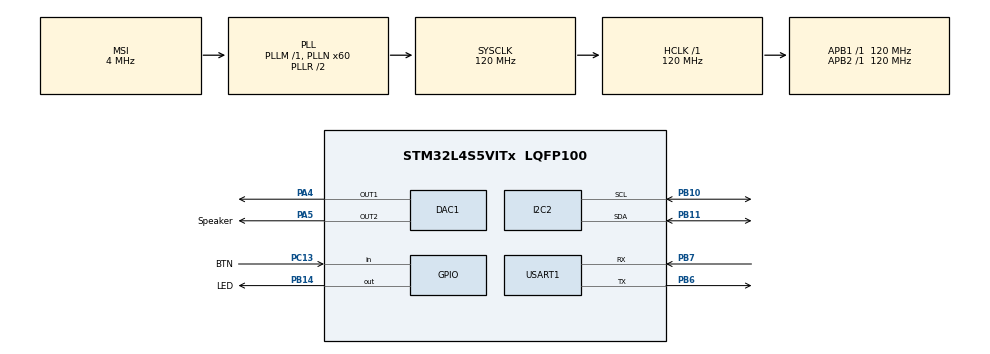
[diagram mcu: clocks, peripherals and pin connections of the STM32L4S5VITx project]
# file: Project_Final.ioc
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DAC1.DAC_Channel-DAC_OUT2=DAC_CHANNEL_2
FREERTOS.Tasks01=ButtonTask,2,128,StartButtonTask,Default,NULL,Dynamic,NULL,NULL;TerminalTask,1,200,StartTerminalTask,Default,NULL,Dynamic,NULL,NULL;SensorTask,1,200,StartSensorTask,Default,NULL,Dynamic,NULL,NULL
I2C2.Timing=0x30A175AB
Mcu.Family=STM32L4
Mcu.Name=STM32L4S5VITx
Mcu.Package=LQFP100
NVIC.PriorityGroup=NVIC_PRIORITYGROUP_4
NVIC.TIM6_DAC_IRQn=true\:5\:0\:false\:false\:true\:false\:false\:true\:true
NVIC.TimeBase=TIM6_DAC_IRQn
NVIC.TimeBaseIP=TIM6
PA4.Signal=COMP_DAC11_group
PA5.GPIO_Label=Speaker
PA5.Signal=COMP_DAC12_group
PB10.Mode=I2C
PB10.Signal=I2C2_SCL
PB11.Mode=I2C
PB11.Signal=I2C2_SDA
PB14.GPIO_Label=LED
PB14.Signal=GPIO_Output
PB6.Mode=Asynchronous
PB6.Signal=USART1_TX
PB7.Mode=Asynchronous
PB7.Signal=USART1_RX
PC13.GPIO_Label=BTN
PC13.Signal=GPIO_Input
ProjectManager.HeapSize=0x200
ProjectManager.StackSize=0x400
ProjectManager.TargetToolchain=STM32CubeIDE
RCC.ADCFreq_Value=48000000
RCC.AHBFreq_Value=120000000
RCC.APB1Freq_Value=120000000
RCC.APB1TimFreq_Value=120000000
RCC.APB2Freq_Value=120000000
RCC.APB2TimFreq_Value=120000000
RCC.CortexFreq_Value=120000000
RCC.HCLKFreq_Value=120000000
RCC.HSE_VALUE=8000000
RCC.HSI48_VALUE=48000000
RCC.HSI_VALUE=16000000
RCC.LSE_VALUE=32768
RCC.MSI_VALUE=4000000
RCC.PLLN=60
RCC.PLLSAI1N=24
RCC.SYSCLKFreq_VALUE=120000000
RCC.SYSCLKSource=RCC_SYSCLKSOURCE_PLLCLK
RCC.USBFreq_Value=48000000
RCC.VCOOutputFreq_Value=240000000
SH.COMP_DAC11_group.0=DAC1_OUT1,DAC_OUT1
SH.COMP_DAC12_group.0=DAC1_OUT2,DAC_OUT2
USART1.VirtualMode-Asynchronous=VM_ASYNC
VP_FREERTOS_VS_CMSIS_V1.Mode=CMSIS_V1
VP_SYS_VS_tim6.Mode=TIM6
board=B-L4S5I-IOT01A

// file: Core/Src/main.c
/* USER CODE BEGIN Header */
/**
  ******************************************************************************
  * @file           : main.c
  * @brief          : Main program body
  ******************************************************************************
  * @attention
  *
  * Copyright (c) 2024 STMicroelectronics.
  * All rights reserved.
  *
  * This software is licensed under terms that can be found in the LICENSE file
  * in the root directory of this software component.
  * If no LICENSE file comes with this software, it is provided AS-IS.
  *
  ******************************************************************************
  */
/* USER CODE END Header */
#include "main.h"
#include "cmsis_os.h"

/* USER CODE BEGIN Includes */
#include <stdio.h>
#include "arm_math.h"
#include <math.h>
/* USER CODE END Includes */

/* USER CODE BEGIN PTD */
#define ARM_MATH_CM4
/* USER CODE END PTD */

DAC_HandleTypeDef hdac1;

I2C_HandleTypeDef hi2c2;

UART_HandleTypeDef huart1;

osThreadId ButtonTaskHandle;
osThreadId TerminalTaskHandle;
osThreadId SensorTaskHandle;

void SystemClock_Config(void);
static void MX_GPIO_Init(void);
static void MX_I2C2_Init(void);
static void MX_USART1_UART_Init(void);
static void MX_DAC1_Init(void);
void StartButtonTask(void const * argument);
void StartTerminalTask(void const * argument);
void StartSensorTask(void const * argument);

/* USER CODE BEGIN PFP */
void beep(int duration);
void playOutOfBoundsBeep();
void playGameOverSound();
void playLevelCompleteSound();
/* USER CODE END PFP */

/* USER CODE BEGIN 0 */

#define RAD_TO_DEG 57.2957795
#define ROWS 7
#define COLS 76

#ifdef __GNUC__
#define PUTCHAR_PROTOTYPE int __io_putchar(int ch)
#else
#define PUTCHAR_PROTOTYPE int fputc(int ch, FILE *f)
#endif

PUTCHAR_PROTOTYPE
{
  HAL_UART_Transmit(&huart1, (uint8_t *)&ch, 1, HAL_MAX_DELAY);
  return ch;
}

char button_status = 0;
int sensor_number = 0;

int16_t xyz_accel[] = {0,0,0};

// gyroscope
int16_t xyz_gyro[] = {0,0,0};

// pressure
int16_t pressure = 0;

// magnometer
int16_t xyz_mag[] = {0,0,0};

int16_t duration;

int arrow_position = 0;
int difficultyLevel = 0;

int car_position = 3; //row
int car_column = 0;
osMutexId accelDataMutex;
float roll = 0.0f;

static uint32_t seed = 1;
char board[ROWS][COLS];

int obstacleGenerationFrequency = 10;
int terminalTaskCounter = 10;

int gameStatus = 0;
int movingCounter = 10;
int gameOver = 0;

/* USER CODE END 0 */

int main(void)
{

  /* MCU Configuration--------------------------------------------------------*/

  /* Reset of all peripherals, Initializes the Flash interface and the Systick. */
  HAL_Init();

  /* Configure the system clock */
  SystemClock_Config();

  /* Initialize all configured peripherals */
  MX_GPIO_Init();
  MX_I2C2_Init();
  MX_USART1_UART_Init();
  MX_DAC1_Init();
  /* USER CODE BEGIN 2 */
  BSP_ACCELERO_Init();
  BSP_GYRO_Init();
  BSP_PSENSOR_Init();
  BSP_MAGNETO_Init();

//  int16_t *ptr = &xyz;

  /* USER CODE END 2 */

  /* USER CODE BEGIN RTOS_MUTEX */
  /* add mutexes, ... */
  osMutexDef(accelDataMutex);         // Define the mutex
  accelDataMutex = osMutexCreate(osMutex(accelDataMutex)); // Create the mutex
  if (accelDataMutex == NULL) {
      printf("Failed to create accelDataMutex\n\r");
      Error_Handler();
  }
  /* USER CODE END RTOS_MUTEX */

  /* Create the thread(s) */
  /* definition and creation of ButtonTask */
  osThreadDef(ButtonTask, StartButtonTask, osPriorityHigh, 0, 128);
  ButtonTaskHandle = osThreadCreate(osThread(ButtonTask), NULL);

  /* definition and creation of TerminalTask */
  osThreadDef(TerminalTask, StartTerminalTask, osPriorityAboveNormal, 0, 200);
  TerminalTaskHandle = osThreadCreate(osThread(TerminalTask), NULL);

  /* definition and creation of SensorTask */
  osThreadDef(SensorTask, StartSensorTask, osPriorityAboveNormal, 0, 200);
  SensorTaskHandle = osThreadCreate(osThread(SensorTask), NULL);

  /* Start scheduler */
  osKernelStart();

  /* We should never get here as control is now taken by the scheduler */

  /* Infinite loop */
  while (1)
  {

  }
}

void SystemClock_Config(void)
{
  RCC_OscInitTypeDef RCC_OscInitStruct = {0};
  RCC_ClkInitTypeDef RCC_ClkInitStruct = {0};

  /** Configure the main internal regulator output voltage
  */
  if (HAL_PWREx_ControlVoltageScaling(PWR_REGULATOR_VOLTAGE_SCALE1_BOOST) != HAL_OK)
  {
    Error_Handler();
  }

  /** Initializes the RCC Oscillators according to the specified parameters
  * in the RCC_OscInitTypeDef structure.
  */
  RCC_OscInitStruct.OscillatorType = RCC_OSCILLATORTYPE_MSI;
  RCC_OscInitStruct.MSIState = RCC_MSI_ON;
  RCC_OscInitStruct.MSICalibrationValue = 0;
  RCC_OscInitStruct.MSIClockRange = RCC_MSIRANGE_6;
  RCC_OscInitStruct.PLL.PLLState = RCC_PLL_ON;
  RCC_OscInitStruct.PLL.PLLSource = RCC_PLLSOURCE_MSI;
  RCC_OscInitStruct.PLL.PLLM = 1;
  RCC_OscInitStruct.PLL.PLLN = 60;
  RCC_OscInitStruct.PLL.PLLP = RCC_PLLP_DIV2;
  RCC_OscInitStruct.PLL.PLLQ = RCC_PLLQ_DIV2;
  RCC_OscInitStruct.PLL.PLLR = RCC_PLLR_DIV2;
  if (HAL_RCC_OscConfig(&RCC_OscInitStruct) != HAL_OK)
  {
    Error_Handler();
  }

  /** Initializes the CPU, AHB and APB buses clocks
  */
  RCC_ClkInitStruct.ClockType = RCC_CLOCKTYPE_HCLK|RCC_CLOCKTYPE_SYSCLK
                              |RCC_CLOCKTYPE_PCLK1|RCC_CLOCKTYPE_PCLK2;
  RCC_ClkInitStruct.SYSCLKSource = RCC_SYSCLKSOURCE_PLLCLK;
  RCC_ClkInitStruct.AHBCLKDivider = RCC_SYSCLK_DIV1;
  RCC_ClkInitStruct.APB1CLKDivider = RCC_HCLK_DIV1;
  RCC_ClkInitStruct.APB2CLKDivider = RCC_HCLK_DIV1;

  if (HAL_RCC_ClockConfig(&RCC_ClkInitStruct, FLASH_LATENCY_5) != HAL_OK)
  {
    Error_Handler();
  }
}

static void MX_DAC1_Init(void)
{

  DAC_ChannelConfTypeDef sConfig = {0};

  /** DAC Initialization
  */
  hdac1.Instance = DAC1;
  if (HAL_DAC_Init(&hdac1) != HAL_OK)
  {
    Error_Handler();
  }

  /** DAC channel OUT1 config
  */
  sConfig.DAC_SampleAndHold = DAC_SAMPLEANDHOLD_DISABLE;
  sConfig.DAC_Trigger = DAC_TRIGGER_NONE;
  sConfig.DAC_HighFrequency = DAC_HIGH_FREQUENCY_INTERFACE_MODE_ABOVE_80MHZ;
  sConfig.DAC_OutputBuffer = DAC_OUTPUTBUFFER_ENABLE;
  sConfig.DAC_ConnectOnChipPeripheral = DAC_CHIPCONNECT_DISABLE;
  sConfig.DAC_UserTrimming = DAC_TRIMMING_FACTORY;
  if (HAL_DAC_ConfigChannel(&hdac1, &sConfig, DAC_CHANNEL_1) != HAL_OK)
  {
    Error_Handler();
  }

  /** DAC channel OUT2 config
  */
  if (HAL_DAC_ConfigChannel(&hdac1, &sConfig, DAC_CHANNEL_2) != HAL_OK)
  {
    Error_Handler();
  }

}

static void MX_I2C2_Init(void)
{

  hi2c2.Instance = I2C2;
  hi2c2.Init.Timing = 0x30A175AB;
  hi2c2.Init.OwnAddress1 = 0;
  hi2c2.Init.AddressingMode = I2C_ADDRESSINGMODE_7BIT;
  hi2c2.Init.DualAddressMode = I2C_DUALADDRESS_DISABLE;
  hi2c2.Init.OwnAddress2 = 0;
  hi2c2.Init.OwnAddress2Masks = I2C_OA2_NOMASK;
  hi2c2.Init.GeneralCallMode = I2C_GENERALCALL_DISABLE;
  hi2c2.Init.NoStretchMode = I2C_NOSTRETCH_DISABLE;
  if (HAL_I2C_Init(&hi2c2) != HAL_OK)
  {
    Error_Handler();
  }

  /** Configure Analogue filter
  */
  if (HAL_I2CEx_ConfigAnalogFilter(&hi2c2, I2C_ANALOGFILTER_ENABLE) != HAL_OK)
  {
    Error_Handler();
  }

  /** Configure Digital filter
  */
  if (HAL_I2CEx_ConfigDigitalFilter(&hi2c2, 0) != HAL_OK)
  {
    Error_Handler();
  }

}

static void MX_USART1_UART_Init(void)
{

  huart1.Instance = USART1;
  huart1.Init.BaudRate = 115200;
  huart1.Init.WordLength = UART_WORDLENGTH_8B;
  huart1.Init.StopBits = UART_STOPBITS_1;
  huart1.Init.Parity = UART_PARITY_NONE;
  huart1.Init.Mode = UART_MODE_TX_RX;
  huart1.Init.HwFlowCtl = UART_HWCONTROL_NONE;
  huart1.Init.OverSampling = UART_OVERSAMPLING_16;
  huart1.Init.OneBitSampling = UART_ONE_BIT_SAMPLE_DISABLE;
  huart1.Init.ClockPrescaler = UART_PRESCALER_DIV1;
  huart1.AdvancedInit.AdvFeatureInit = UART_ADVFEATURE_NO_INIT;
  if (HAL_UART_Init(&huart1) != HAL_OK)
  {
    Error_Handler();
  }
  if (HAL_UARTEx_SetTxFifoThreshold(&huart1, UART_TXFIFO_THRESHOLD_1_8) != HAL_OK)
  {
    Error_Handler();
  }
  if (HAL_UARTEx_SetRxFifoThreshold(&huart1, UART_RXFIFO_THRESHOLD_1_8) != HAL_OK)
  {
    Error_Handler();
  }
  if (HAL_UARTEx_DisableFifoMode(&huart1) != HAL_OK)
  {
    Error_Handler();
  }

}

static void MX_GPIO_Init(void)
{
  GPIO_InitTypeDef GPIO_InitStruct = {0};

  /* GPIO Ports Clock Enable */
  __HAL_RCC_GPIOC_CLK_ENABLE();
  __HAL_RCC_GPIOA_CLK_ENABLE();
  __HAL_RCC_GPIOB_CLK_ENABLE();

  /*Configure GPIO pin Output Level */
  HAL_GPIO_WritePin(LED_GPIO_Port, LED_Pin, GPIO_PIN_RESET);

  /*Configure GPIO pin : BTN_Pin */
  GPIO_InitStruct.Pin = BTN_Pin;
  GPIO_InitStruct.Mode = GPIO_MODE_INPUT;
  GPIO_InitStruct.Pull = GPIO_NOPULL;
  HAL_GPIO_Init(BTN_GPIO_Port, &GPIO_InitStruct);

  /*Configure GPIO pin : LED_Pin */
  GPIO_InitStruct.Pin = LED_Pin;
  GPIO_InitStruct.Mode = GPIO_MODE_OUTPUT_PP;
  GPIO_InitStruct.Pull = GPIO_NOPULL;
  GPIO_InitStruct.Speed = GPIO_SPEED_FREQ_LOW;
  HAL_GPIO_Init(LED_GPIO_Port, &GPIO_InitStruct);

}

/* USER CODE BEGIN 4 */
void printAcceleration(int16_t *accelData) {
    printf("Acceleration: X: %d, Y: %d, Z: %d\n\r", accelData[0], accelData[1], accelData[2]);
}

void printGyroscope(int16_t *gyroData) {
    printf("Gyroscope: X: %d, Y: %d, Z: %d\n\r", gyroData[0], gyroData[1], gyroData[2]);
}

void printMagnetometer(int16_t *magData) {
    printf("Magnetometer: X: %d, Y: %d, Z: %d\n\r", magData[0], magData[1], magData[2]);
}

void srand(uint32_t new_seed) {
    seed = new_seed;
}

uint32_t rand(void) {
    seed = (1103515245 * seed + 12345) % (1 << 31);
    return seed;
}

uint32_t getRandomNumber0to6(void) {
    uint32_t random_uint32 = rand();
    // Scale to range 0-6
    return random_uint32 % 7;
}

void generateObstacles(int level){
	// Medium Level, 2 obstacles
	if (level == 0) {
		int firstRow = getRandomNumber0to6();
		board[firstRow][COLS -1] = 'O';
	}
		if (level == 1) {
		int firstRow = getRandomNumber0to6();
		int secondRow = getRandomNumber0to6();
		board[firstRow][COLS -1] = 'O';
		board[secondRow][COLS -1] = 'O';
	}
	if (level == 2) {
		int firstRow = getRandomNumber0to6();
		int secondRow = getRandomNumber0to6();
		int thirdRow = getRandomNumber0to6();
		board[firstRow][COLS -1] = 'O';
		board[secondRow][COLS -1] = 'O';
		board[thirdRow][COLS -1] = 'O';

		}
}

void initializeBoard() {
    // Fill the board with empty spaces
    for (int i = 0; i < ROWS; i++) {
        for (int j = 0; j < COLS; j++) {
            board[i][j] = ' '; // Empty space
        }
    }
}

void clearCarPosition() {
    for (int i = 0; i < ROWS; i++) {
        for (int j = 0; j < COLS; j++) {
            if (j <= COLS - 4) { // Only clear potential car positions
                if (strncmp(&board[i][j], "o/=\o", 4) == 0) {
                    strncpy(&board[i][j], "    ", 4); // Clear car
                }
            }
        }
    }
}

// Generates board from game data, return 1 if game over, 0 if nothing, 2 if win
int generateBoard() {
    // Check for level completion
    if (car_column >= COLS - 4) {
        playLevelCompleteSound(); // Play sound on level completion
        return 2;
    }

    // Clear all previous car positions
    clearCarPosition();

    // Update obstacles
    for (int i = 0; i < ROWS; i++) {
        for (int j = 0; j < COLS; j++) {
            if (board[i][j] == 'O') {
                board[i][j] = ' ';
                if (j > 2) {
                    board[i][j - 3] = 'O';
                    // Check for collision with the car
                    if (car_position == i &&
                        (car_column == j - 3 || car_column + 1 == j - 3 || car_column + 2 == j - 3)) {
                        playGameOverSound(); // Play sound on game over
                        return 1;
                    }
                }
            }
        }
    }

    // Place the car in its new position
    strncpy(&board[car_position][car_column], "o/=\o", 4);
    return 0;
}

void displayBoard() {
	printf("\033[2J"); // Clear the terminal screen (ANSI escape code)
	printf("\033[H");  // Move the cursor to the top-left corner (ANSI escape code)
    // Top border
    printf("+------------------------------------------------------------------------------+\n\r");
    for (int i = 0; i < ROWS; i++) {
        printf("|"); // Left border
        for (int j = 0; j < COLS; j++) {
            printf("%c", board[i][j]);
        }
        printf("|\n\r"); // Right border
        if (i < ROWS - 1) {
            // Horizontal row divider
            printf("|------------------------------------------------------------------------------|\n\r");
        }
    }
    // Bottom border
    printf("+------------------------------------------------------------------------------+\n\r");
//    printf("\n\r");
//    printf("\n\r");
//    printf("\n\r");
//    printf("\n\r");
//	printf("\n\r");
//	printf("\n\r");
}

void printGameOver() {
    printf("\n\r");
    printf(" GGGGG  AAAAA  M     M  EEEEE    OOO  V   V EEEEE RRRR  \n\r");
    printf("G       A   A  MM   MM  E       O   O V   V E     R   R \n\r");
    printf("G  GG   AAAAA  M M M M  EEEE    O   O V   V EEEE  RRRR  \n\r");
    printf("G   G   A   A  M  M  M  E       O   O V   V E     R  R  \n\r");
    printf(" GGGG   A   A  M     M  EEEEE    OOO   VVV  EEEEE R   R \n\r");
    printf("\n\r");
    printf("\n\r");
    printf("\n\r");
    printf("\n\r");
    printf("\n\r");
    printf("\n\r");
    printf("\n\r");
    printf("\n\r");
}

void printWinner() {
    printf("\n\r");
    printf(" W   W  III  N   N  N   N  EEEEE  RRRR    \n\r");
    printf(" W   W   I   NN  N  NN  N  E      R   R   \n\r");
    printf(" W W W   I   N N N  N N N  EEEE   RRRR    \n\r");
    printf(" WW WW   I   N  NN  N  NN  E      R  R    \n\r");
    printf(" W   W  III  N   N  N   N  EEEEE  R   R   \n\r");
    printf("\n\r");
    printf("\n\r");
	printf("\n\r");
	printf("\n\r");
	printf("\n\r");
	printf("\n\r");
	printf("\n\r");
	printf("\n\r");
}

void displayMenu()
{
    printf("\033[2J"); // Clear the terminal screen (ANSI escape code)
    printf("\033[H");  // Move the cursor to the top-left corner (ANSI escape code)
    HAL_Delay(100);

    if (arrow_position == 0) {
        printf("\n\r");
        printf(" GGG    A   M   M  EEEEE      M   M  EEEEE  N   N  U   U  \n\r");
        printf("G      A A  MM MM  E          MM MM  E      NN  N  U   U  \n\r");
        printf("G  GG AAAAA M M M  EEEE       M M M  EEEE   N N N  U   U  \n\r");
        printf("G   G A   A M   M  E          M   M  E      N  NN  U   U  \n\r");
        printf(" GGG  A   A M   M  EEEEE      M   M  EEEEE  N   N  UUUUU  \n\r");
        printf("\n\r");
        printf("SELECT A DIFFICULTY:\n\r");
        printf("EASY     <-- \n\r");
        printf("MEDIUM\n\r");
        printf("HARD\n\r");
    } else if (arrow_position == 1) {
        printf("\n\r");
        printf(" GGG    A   M   M  EEEEE      M   M  EEEEE  N   N  U   U  \n\r");
        printf("G      A A  MM MM  E          MM MM  E      NN  N  U   U  \n\r");
        printf("G  GG AAAAA M M M  EEEE       M M M  EEEE   N N N  U   U  \n\r");
        printf("G   G A   A M   M  E          M   M  E      N  NN  U   U  \n\r");
        printf(" GGG  A   A M   M  EEEEE      M   M  EEEEE  N   N  UUUUU  \n\r");
        printf("\n\r");
        printf("SELECT A DIFFICULTY:\n\r");
        printf("EASY\n\r");
        printf("MEDIUM   <-- \n\r");
        printf("HARD\n\r");
    } else if (arrow_position == 2) {
        printf("\n\r");
        printf(" GGG    A   M   M  EEEEE      M   M  EEEEE  N   N  U   U  \n\r");
        printf("G      A A  MM MM  E          MM MM  E      NN  N  U   U  \n\r");
        printf("G  GG AAAAA M M M  EEEE       M M M  EEEE   N N N  U   U  \n\r");
        printf("G   G A   A M   M  E          M   M  E      N  NN  U   U  \n\r");
        printf(" GGG  A   A M   M  EEEEE      M   M  EEEEE  N   N  UUUUU  \n\r");
        printf("\n\r");
        printf("SELECT A DIFFICULTY:\n\r");
        printf("EASY\n\r");
        printf("MEDIUM\n\r");
        printf("HARD     <-- \n\r");
    }
}

void beep(int duration_ms) {
    HAL_DAC_Start(&hdac1, DAC_CHANNEL_1); // Start DAC output
    for (int i = 0; i < duration_ms; i++) {
        HAL_DAC_SetValue(&hdac1, DAC_CHANNEL_1, DAC_ALIGN_12B_R, 4095); // Max value
        HAL_Delay(1); // 1ms high
        HAL_DAC_SetValue(&hdac1, DAC_CHANNEL_1, DAC_ALIGN_12B_R, 0); // Min value
        HAL_Delay(1); // 1ms low
    }
    HAL_DAC_Stop(&hdac1, DAC_CHANNEL_1); // Stop DAC output
}

void playOutOfBoundsBeep() {
    beep(100); // Simple short beep
}

void playGameOverSound() {
    uint16_t durations[] = {70, 20, 20, 70, 70, 20, 200};
    for (int i = 0; i < 5; i++) {
        beep(durations[i]);
        HAL_Delay(100);
    }
}

void playLevelCompleteSound() {
    uint16_t durations[] = {200, 20, 100, 200, 300};
    for (int i = 0; i < 5; i++) {
        beep(durations[i]);
        HAL_Delay(50);
    }
}

/* USER CODE END 4 */

void StartButtonTask(void const * argument)
{
  static int prev_arrow_position = -1;  // Keep track of the previous arrow position to avoid redundant prints
  /* USER CODE BEGIN 5 */
  /* Infinite loop */
  for (;;)
  {
    osDelay(100);

    // Update the position of the menu arrow
    osMutexWait(accelDataMutex, osWaitForever);
    if (roll > 20.0f && arrow_position < 2) {
        arrow_position++;
    }
    if (roll < -20.0f && arrow_position > 0) {
        arrow_position--;
    }
    osMutexRelease(accelDataMutex);

    // Check if arrow position changed, and update the menu if necessary
    if (prev_arrow_position != arrow_position) {
        prev_arrow_position = arrow_position;
        displayMenu();  // Only update the menu when the arrow moves
    }

    // Check if the button is pressed
    button_status = HAL_GPIO_ReadPin(BTN_GPIO_Port, BTN_Pin);
    if (button_status == 0) {
        HAL_Delay(50);  // Debounce delay
        if (HAL_GPIO_ReadPin(BTN_GPIO_Port, BTN_Pin) == 0) {  // Confirm button is still pressed
            difficultyLevel = arrow_position;  // Set the difficulty level
            car_position = 3;  // Reset the car position
            car_column = 0;
            gameStatus = 0;
            initializeBoard();

            vTaskResume(TerminalTaskHandle);  // Resume the game task
            vTaskSuspend(ButtonTaskHandle);  // Suspend the menu task
        }
    }
  }
  /* USER CODE END 5 */
}

void StartTerminalTask(void const * argument)
{
  /* USER CODE BEGIN StartTerminalTask */
	vTaskSuspend(TerminalTaskHandle); // Suspends the game task until it is resumed by the menu task
  /* Infinite loop */
  for(;;)
  {
    osDelay(100);

    if (car_position < 0 || car_position >= ROWS) {
    	playOutOfBoundsBeep(); // Out of bounds beep
    }

    if (terminalTaskCounter == obstacleGenerationFrequency) {
        generateObstacles(difficultyLevel);
    }

    if (terminalTaskCounter== movingCounter){
    	car_column = car_column + 5;
    }
    if (terminalTaskCounter == 0) {
    	terminalTaskCounter = obstacleGenerationFrequency;
    } else {
    	terminalTaskCounter = terminalTaskCounter - 1;
    }

    osMutexWait(accelDataMutex, osWaitForever);
    if (roll > 20.0f && car_position <6){
		car_position = car_position + 1;
	}
	if (roll < -20.0f && car_position >0){
		car_position = car_position - 1;
	}
	if ((roll < -20.0f && car_position == 0) || (roll > 20.0f && car_position == 6)) {
		beep(100);
	}
    osMutexRelease(accelDataMutex);

    //printf("%d\n\r", getRandomNumber0to6());

//    printf("____________________________________________________________________________\n\r");
//    for (int i=0; i<=6; i++){
//    	if (i == car_position){
//    		printf("o/=\o\n\r");
//    	} else {
//    		printf("\n\r");
//    	}
//
//    }
//    printf("____________________________________________________________________________\n\r");
//    printf("\n\r");
//    printf("\n\r");
    gameStatus = generateBoard();
    if (gameStatus==1){
    	printGameOver();
    	vTaskDelay(pdMS_TO_TICKS(3000)); //tasks wait for 3 seconds before going back to menu
    	vTaskResume(ButtonTaskHandle); // resumes the menu task
		vTaskSuspend(TerminalTaskHandle); // Suspend the game task (NULL means current task)
    }
    if (gameStatus ==2){
    	printWinner();
    	vTaskDelay(pdMS_TO_TICKS(3000)); //tasks wait for 3 seconds before going back to menu
    	vTaskResume(ButtonTaskHandle); // resumes the menu task
		vTaskSuspend(TerminalTaskHandle); // Suspend the game task (NULL means current task)
    }
    displayBoard();
//    if (status) {
//    	displayBoard(); }
//    } else {
//    	printGameOver();
//    	vTaskSuspend(NULL); // Suspend the current task (NULL means current task)
//    }

  }
  /* USER CODE END StartTerminalTask */
}

void StartSensorTask(void const * argument)
{
  /* USER CODE BEGIN StartSensorTask */
  /* Infinite loop */
  for(;;)
  {
    osDelay(10);

    BSP_ACCELERO_AccGetXYZ(xyz_accel);
    int16_t ax = xyz_accel[0];
    int16_t ay = xyz_accel[1];
    int16_t az = xyz_accel[2];

    float32_t square = 0.0f;

	osMutexWait(accelDataMutex, osWaitForever);
	if (ax != 0 || ay != 0 || az != 0) {
		arm_sqrt_f32((float32_t)((ax * ax + az * az) * 57), &square);
		roll = atan2((double)ay, (double)square) * 57;
	}
    osMutexRelease(accelDataMutex);
  }
  /* USER CODE END StartSensorTask */
}

void HAL_TIM_PeriodElapsedCallback(TIM_HandleTypeDef *htim)
{
  if (htim->Instance == TIM6) {
    HAL_IncTick();
  }
}

void Error_Handler(void)
{
  /* USER CODE BEGIN Error_Handler_Debug */
  /* User can add his own implementation to report the HAL error return state */
	printf("Error happened");
  __disable_irq();
  while (1)
  {
  }
  /* USER CODE END Error_Handler_Debug */
}
